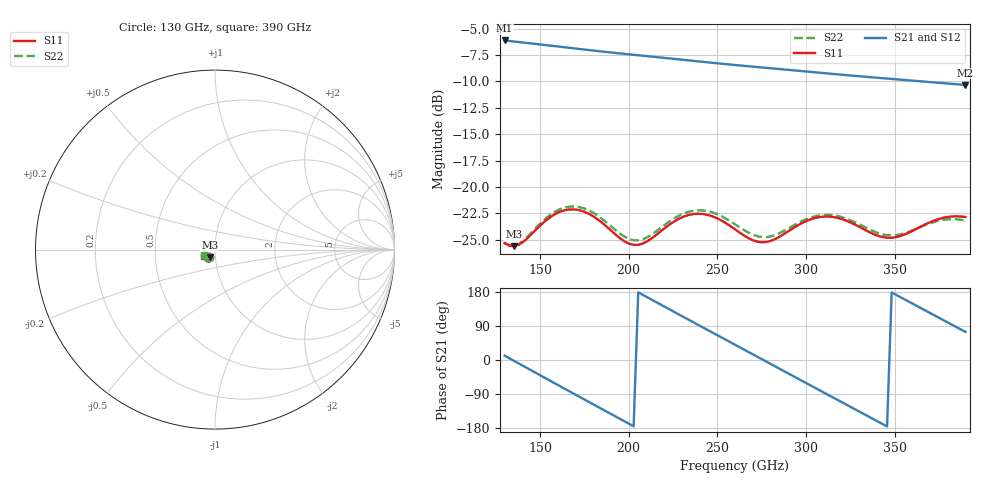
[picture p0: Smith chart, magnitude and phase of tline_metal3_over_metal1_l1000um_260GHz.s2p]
#  GHZ S DB R 50
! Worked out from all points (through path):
!   101 points, 130 GHz to 390 GHz, reference 50 ohm
!   highest |S21| = -6.12 dB at 130 GHz (marker M1); lowest = -10.3 dB at 390 GHz (marker M2)
!   group delay of S21, straight-line fit = 7.02 ps
!   lowest |S11| = -25.6 dB at 135.2 GHz (marker M3), VSWR 1.11, Z = 47 - j4.12 ohm
!   |S11| at or under -10 dB: start of sweep to end of sweep
!   |S22| runs from -25.6 to -21.8 dB; largest |S21 - S12| = 5.7e-14
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130  -25.31 -130.2  -6.12 11.4  -6.12 11.4  -25.31 -128.9
135.2  -25.61 -123.6  -6.22 -2.0  -6.22 -2.0  -25.58 -121.9
145.6  -24.41 -115.0  -6.42 -28.8  -6.42 -28.8  -24.25 -113.1
156  -22.83 -118.4  -6.62 -55.5  -6.62 -55.5  -22.61 -116.7
166.4  -22.13 -128.0  -6.82 -82.2  -6.82 -82.2  -21.87 -126.4
174.2  -22.30 -135.8  -6.97 -102.1  -6.97 -102.1  -22.00 -134.3
187.2  -23.70 -144.2  -7.21 -135.2  -7.21 -135.2  -23.32 -143.0
197.6  -25.15 -141.7  -7.40 -161.7  -7.40 -161.7  -24.71 -141.0
208  -25.36 -132.3  -7.57 171.9  -7.57 171.9  -24.96 -132.4
218.4  -24.16 -127.8  -7.75 145.5  -7.75 145.5  -23.84 -128.0
228.8  -22.98 -131.6  -7.93 119.1  -7.93 119.1  -22.68 -131.6
239.2  -22.54 -139.4  -8.10 92.7  -8.10 92.7  -22.21 -139.2
249.6  -22.94 -146.9  -8.28 66.5  -8.28 66.5  -22.55 -146.7
260  -24.01 -150.5  -8.45 40.3  -8.45 40.3  -23.53 -150.7
270.4  -25.07 -147.0  -8.61 14.1  -8.61 14.1  -24.55 -148.2
280.8  -25.07 -139.3  -8.77 -12.1  -8.77 -12.1  -24.65 -141.5
304.2  -22.98 -140.2  -9.13 -71.0  -9.13 -71.0  -22.82 -142.1
322.4  -23.17 -150.6  -9.40 -116.7  -9.40 -116.7  -22.97 -152.0
335.4  -24.24 -152.2  -9.59 -149.2  -9.59 -149.2  -23.98 -154.0
348.4  -24.81 -146.0  -9.77 178.2  -9.77 178.2  -24.60 -148.9
371.8  -23.22 -142.0  -10.09 119.7  -10.09 119.7  -23.34 -145.4
390  -22.85 -150.0  -10.34 74.2  -10.34 74.2  -23.19 -152.7
